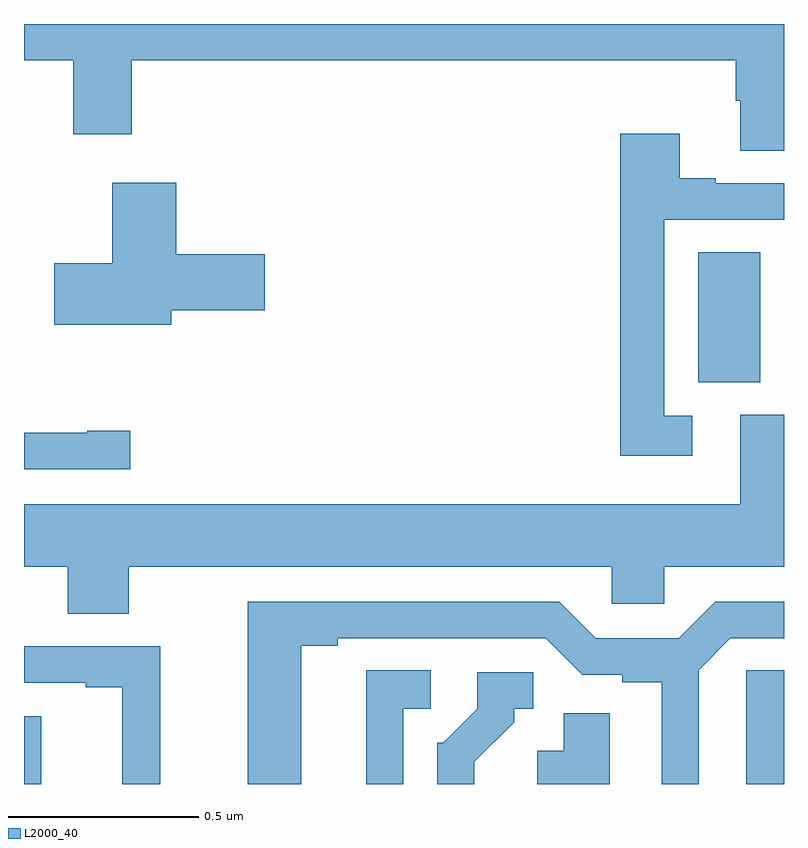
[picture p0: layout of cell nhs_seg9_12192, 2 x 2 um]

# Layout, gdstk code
import gdstk
lib = gdstk.Library(unit=1e-6, precision=1e-09)
def R(c, l, rs):  # rectangles x0, y0, x1, y1
    for r in rs: c.add(gdstk.rectangle(r[:2], r[2:], *l))
def P(c, l, *ps):  # polygons
    for p in ps: c.add(gdstk.Polygon(p, *l))
L2000_40 = (2000, 40)

nhs_seg9_12192 = lib.new_cell('nhs_seg9_12192')
R(nhs_seg9_12192, L2000_40, [(265,1210.5,265.045,1210.678), (266.774,1211.557,266.938,1211.9)])
P(nhs_seg9_12192, L2000_40, [(267,1212.5),(265,1212.5),(265,1212.404),(265.13,1212.404),(265.13,1212.21),(265.283,1212.21),(265.283,1212.404),(266.873,1212.404),(266.873,1212.298),(266.885,1212.298),(266.885,1212.166),(267,1212.166)],
  [(266.758,1211.469),(266.685,1211.469),(266.685,1211.985),(267,1211.985),(267,1212.081),(266.821,1212.081),(266.821,1212.094),(266.725,1212.094),(266.725,1212.211),(266.569,1212.211),(266.569,1211.364),(266.758,1211.364)],
  [(265.387,1211.747),(265.633,1211.747),(265.633,1211.894),(265.4,1211.894),(265.4,1212.082),(265.232,1212.082),(265.232,1211.871),(265.08,1211.871),(265.08,1211.708),(265.387,1211.708)],
  [(265.275,1211.072),(266.547,1211.072),(266.547,1210.974),(266.685,1210.974),(266.685,1211.072),(267,1211.072),(267,1211.472),(266.885,1211.472),(266.885,1211.236),(265,1211.236),(265,1211.072),(265.115,1211.072),(265.115,1210.948),(265.275,1210.948)],
  [(265.279,1211.429),(265.166,1211.429),(265.166,1211.424),(265,1211.424),(265,1211.328),(265.279,1211.328)],
  [(265.729,1210.864),(265.825,1210.864),(265.825,1210.884),(266.373,1210.884),(266.469,1210.788),(266.574,1210.788),(266.574,1210.768),(266.678,1210.768),(266.678,1210.5),(266.775,1210.5),(266.775,1210.8),(266.859,1210.884),(267,1210.884),(267,1210.98),(266.819,1210.98),(266.723,1210.884),(266.505,1210.884),(266.409,1210.98),(265.589,1210.98),(265.589,1210.5),(265.729,1210.5)],
  [(265.359,1210.863),(265,1210.863),(265,1210.767),(265.163,1210.767),(265.163,1210.755),(265.259,1210.755),(265.259,1210.5),(265.359,1210.5)],
  [(265.998,1210.698),(266.071,1210.698),(266.071,1210.799),(265.901,1210.799),(265.901,1210.5),(265.998,1210.5)],
  [(267,1210.799),(266.901,1210.799),(266.901,1210.691),(266.9,1210.691),(266.9,1210.5),(267,1210.5)],
  [(266.185,1210.558),(266.29,1210.663),(266.29,1210.698),(266.34,1210.698),(266.34,1210.794),(266.193,1210.794),(266.193,1210.698),(266.103,1210.608),(266.088,1210.608),(266.088,1210.5),(266.185,1210.5)],
  [(266.542,1210.686),(266.42,1210.686),(266.42,1210.588),(266.351,1210.588),(266.351,1210.5),(266.542,1210.5)])

lib.write_gds('nhs_seg9_12192.gds')
